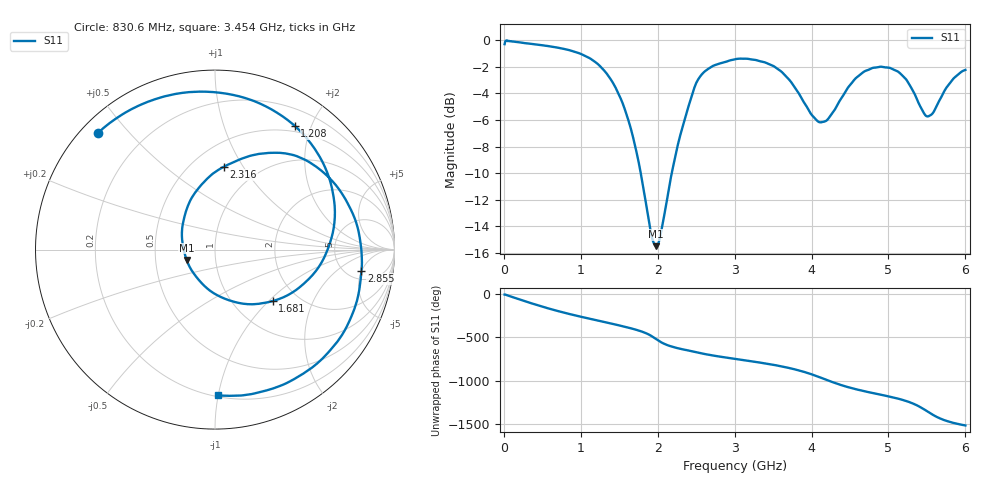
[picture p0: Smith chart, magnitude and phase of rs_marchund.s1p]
#  HZ  S  DB  R  50.00
! Rohde & Schwarz Vector Network Analyzer
! Rohde-Schwarz,ZNA26-4Port,1332450024101475,2.90
! Created: UTC 5/23/2025, 8:39:30 PM
! freq[Hz]  db:S33  ang:S33
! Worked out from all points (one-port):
!   1001 points, 10 MHz to 6 GHz, reference 50 ohm
!   lowest |S11| = -15.5 dB at 1.981 GHz (marker M1), VSWR 1.40, Z = 36.2 - j4.34 ohm
!   |S11| at or under -10 dB: 1.78 GHz to 2.182 GHz (402.5 MHz wide, 20.3 % of centre)
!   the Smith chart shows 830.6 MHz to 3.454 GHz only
!   S11 on the Smith chart (normalised r, x): 830.6 MHz: 0.05, +0.41; 1.208 GHz: 0.42, +1.76; 1.681 GHz: 1.50, -1.06; 2.316 GHz: 0.70, +0.83; 2.855 GHz: 6.71, -4.94; 3.454 GHz: 0.21, -1.00
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1e7  -0.29 -5.5
1.9569e8  -0.16 -59.1
3.3346e8  -0.26 -99.0
5.491e8  -0.42 -157.6
7.5875e8  -0.63 151.3
8.3063e8  -0.72 135.1
1.01033e9  -1.05 96.9
1.208e9  -1.72 57.2
1.5075e9  -4.24 -3.2
1.68121e9  -7.32 -41.8
1.98071e9  -15.48 -159.7
2.25625e9  -8.00 96.2
2.31615e9  -6.67 83.9
2.51382e9  -3.07 46.4
2.85525e9  -1.68 -8.2
3.005e9  -1.43 -27.9
3.45425e9  -1.81 -88.9
3.75375e9  -3.31 -142.5
3.95142e9  -5.13 168.7
4.17305e9  -6.10 97.2
4.5025e9  -3.36 -1.3
4.90982e9  -1.99 -83.7
5.08952e9  -2.26 -119.4
5.25125e9  -3.13 -160.7
5.37105e9  -4.45 155.1
5.50882e9  -5.73 83.2
5.70649e9  -4.05 -9.2
6e9  -2.23 -76.9
